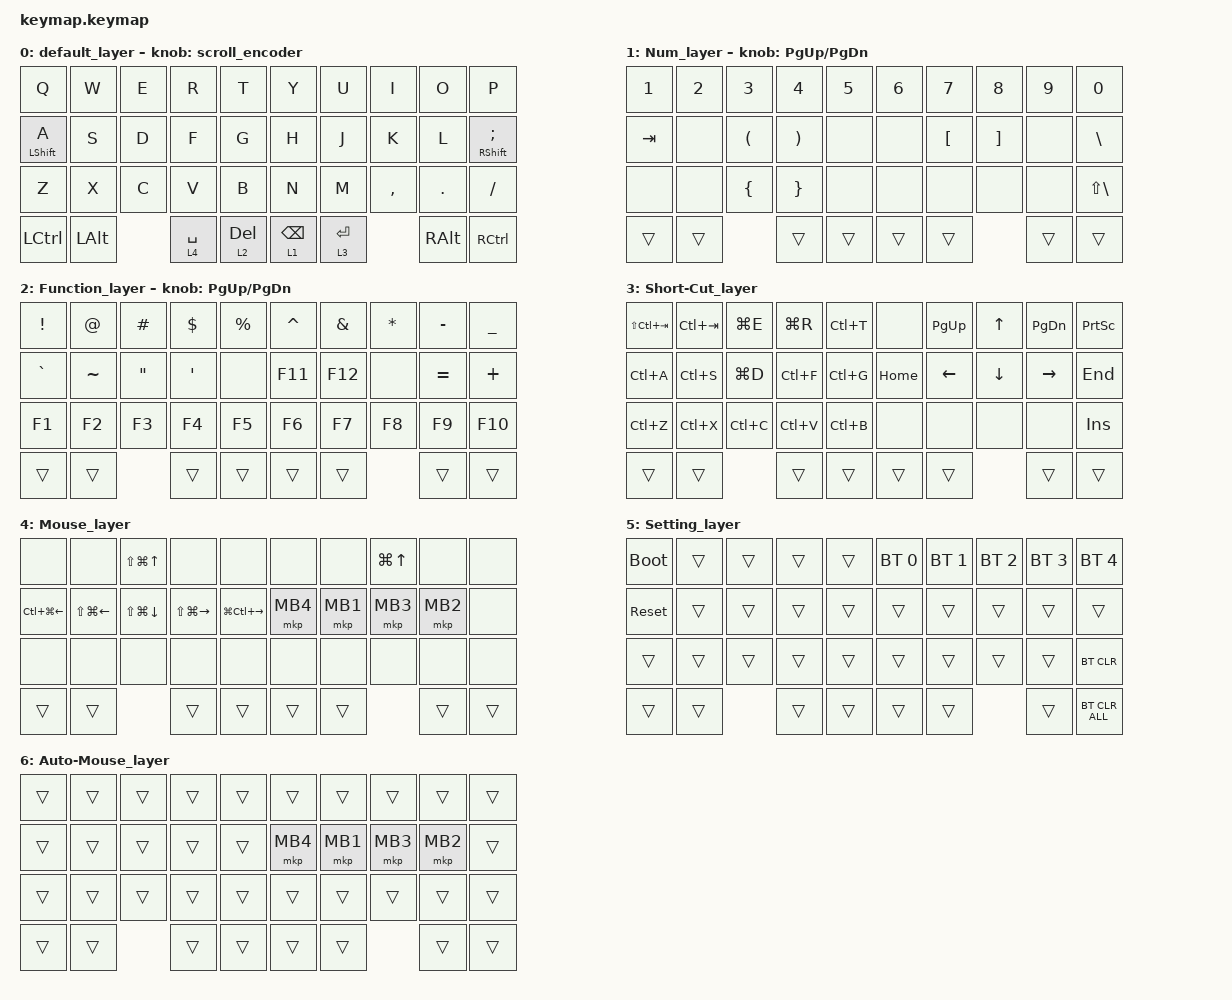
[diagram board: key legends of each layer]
/*
 * tecla-cero keymap
 *
 * 38-key split keyboard (left 19 + right 19)
 * 3 layers + rotary encoder
 *
 * ZMK Studio enabled for live editing
 */

#define ZMK_POINTING_DEFAULT_SCRL_VAL 200

#include <behaviors.dtsi>
#include <dt-bindings/zmk/bt.h>
#include <dt-bindings/zmk/keys.h>
#include <dt-bindings/zmk/pointing.h>

/ {
    behaviors {
        scroll_encoder: scroll_encoder {
            compatible = "zmk,behavior-sensor-rotate";
            #sensor-binding-cells = <0>;
            bindings = <&msc SCRL_DOWN>, <&msc SCRL_UP>;

            tap-ms = <60>;
        };
    };

    combos {
        compatible = "zmk,combos";

        Esc {
            bindings = <&kp ESCAPE>;
            key-positions = <0 1>;
        };

        Win {
            bindings = <&kp LEFT_GUI>;
            key-positions = <1 2>;
        };

        Tab {
            bindings = <&kp TAB>;
            key-positions = <11 12>;
        };

        Setting {
            bindings = <&mo 0>;
            key-positions = <33 34>;
        };
    };

    keymap {
        compatible = "zmk,keymap";

        /*
         * Layer 0: Default (QWERTY)
         *
         * ┌───┬───┬───┬───┬───┐   ┌───┬───┬───┬───┬───┐
         * │ Q │ W │ E │ R │ T │   │ Y │ U │ I │ O │ P │
         * ├───┼───┼───┼───┼───┤   ├───┼───┼───┼───┼───┤
         * │ A │ S │ D │ F │ G │   │ H │ J │ K │ L │ ; │
         * ├───┼───┼───┼───┼───┤   ├───┼───┼───┼───┼───┤
         * │ Z │ X │ C │ V │ B │   │ N │ M │ , │ . │BSP│
         * ├───┼───┼───┼───┼───┤   ├───┼───┼───┼───┼───┤
         * │CTL│SFT│   │LWR│SPC│   │ENT│RSE│   │ALT│CTL│
         * └───┴───┴───┴───┴───┘   └───┴───┴───┴───┴───┘
         */

        default_layer {
            bindings = <
&kp Q             &kp W         &kp E  &kp R        &kp T         &kp Y            &kp U        &kp I      &kp O     &kp P
&mt LEFT_SHIFT A  &kp S         &kp D  &kp F        &kp G         &kp H            &kp J        &kp K      &kp L     &mt RIGHT_SHIFT SEMICOLON
&kp Z             &kp X         &kp C  &kp V        &kp B         &kp N            &kp M        &kp COMMA  &kp DOT   &kp SLASH
&kp LCTRL         &kp LEFT_ALT         &lt 4 SPACE  &lt 2 DELETE  &lt 1 BACKSPACE  &lt 3 ENTER             &kp RALT  &kp RCTRL
            >;

            sensor-bindings = <&scroll_encoder>;
        };

        /*
         * Layer 1: Lower (Numbers / Navigation)
         *
         * ┌───┬───┬───┬───┬───┐   ┌───┬───┬───┬───┬───┐
         * │ 1 │ 2 │ 3 │ 4 │ 5 │   │ 6 │ 7 │ 8 │ 9 │ 0 │
         * ├───┼───┼───┼───┼───┤   ├───┼───┼───┼───┼───┤
         * │TAB│   │   │ESC│   │   │ ← │ ↓ │ ↑ │ → │BSP│
         * ├───┼───┼───┼───┼───┤   ├───┼───┼───┼───┼───┤
         * │SFT│   │   │   │   │   │HOM│PGD│PGU│END│DEL│
         * ├───┼───┼───┼───┼───┤   ├───┼───┼───┼───┼───┤
         * │   │   │   │▓▓▓│   │   │   │   │   │   │   │
         * └───┴───┴───┴───┴───┘   └───┴───┴───┴───┴───┘
         */

        Num_layer {
            bindings = <
&kp N1   &kp N2  &kp N3                &kp N4                 &kp N5  &kp N6  &kp N7            &kp N8             &kp N9  &kp N0
&kp TAB  &none   &kp LEFT_PARENTHESIS  &kp RIGHT_PARENTHESIS  &none   &none   &kp LEFT_BRACKET  &kp RIGHT_BRACKET  &none   &kp BACKSLASH
&none    &none   &kp LEFT_BRACE        &kp RIGHT_BRACE        &none   &none   &none             &none              &none   &kp LS(BACKSLASH)
&trans   &trans                        &trans                 &trans  &trans  &trans                               &trans  &trans
            >;

            sensor-bindings = <&inc_dec_kp PG_UP PG_DN>;
        };

        /*
         * Layer 2: Raise (Symbols / Function / Bluetooth)
         *
         * ┌───┬───┬───┬───┬───┐   ┌───┬───┬───┬───┬───┐
         * │ ! │ @ │ # │ $ │ % │   │ ^ │ & │ * │ ( │ ) │
         * ├───┼───┼───┼───┼───┤   ├───┼───┼───┼───┼───┤
         * │F1 │F2 │F3 │F4 │F5 │   │ - │ = │ [ │ ] │ \ │
         * ├───┼───┼───┼───┼───┤   ├───┼───┼───┼───┼───┤
         * │F6 │F7 │F8 │F9 │F10│   │ _ │ + │ { │ } │ | │
         * ├───┼───┼───┼───┼───┤   ├───┼───┼───┼───┼───┤
         * │BT1│BT2│   │BT3│   │   │   │▓▓▓│   │F11│F12│
         * └───┴───┴───┴───┴───┘   └───┴───┴───┴───┴───┘
         */

        Function_layer {
            bindings = <
&kp EXCL   &kp AT     &kp HASH           &kp DLLR          &kp PRCNT  &kp CARET  &kp AMPS  &kp ASTRK  &kp MINUS  &kp UNDER
&kp GRAVE  &kp TILDE  &kp DOUBLE_QUOTES  &kp SINGLE_QUOTE  &none      &kp F11    &kp F12   &none      &kp EQUAL  &kp PLUS
&kp F1     &kp F2     &kp F3             &kp F4            &kp F5     &kp F6     &kp F7    &kp F8     &kp F9     &kp F10
&trans     &trans                        &trans            &trans     &trans     &trans               &trans     &trans
            >;

            sensor-bindings = <&inc_dec_kp PG_UP PG_DN>;
        };

        Short-Cut_layer {
            bindings = <
&kp LS(LC(TAB))  &kp LC(TAB)  &kp LG(E)  &kp LG(R)  &kp LC(T)  &none     &kp PAGE_UP     &kp UP_ARROW    &kp PAGE_DOWN    &kp PRINTSCREEN
&kp LC(A)        &kp LC(S)    &kp LG(D)  &kp LC(F)  &kp LC(G)  &kp HOME  &kp LEFT_ARROW  &kp DOWN_ARROW  &kp RIGHT_ARROW  &kp END
&kp LC(Z)        &kp LC(X)    &kp LC(C)  &kp LC(V)  &kp LC(B)  &none     &none           &none           &none            &kp INSERT
&trans           &trans                  &trans     &trans     &trans    &trans                          &trans           &trans
            >;
        };

        Mouse_layer {
            bindings = <
&none                   &none                   &kp LS(LG(UP_ARROW))    &none              &none                    &none     &none     &kp LG(UP_ARROW)  &none     &none
&kp LC(LG(LEFT_ARROW))  &kp LS(LG(LEFT_ARROW))  &kp LS(LG(DOWN_ARROW))  &kp LS(LG(RIGHT))  &kp LG(LC(RIGHT_ARROW))  &mkp MB4  &mkp MB1  &mkp MB3          &mkp MB2  &none
&none                   &none                   &none                   &none              &none                    &none     &none     &none             &none     &none
&trans                  &trans                                          &trans             &trans                   &trans    &trans                      &trans    &trans
            >;
        };

        Setting_layer {
            bindings = <
&bootloader  &trans  &trans  &trans  &trans  &bt BT_SEL 0  &bt BT_SEL 1  &bt BT_SEL 2  &bt BT_SEL 3  &bt BT_SEL 4
&sys_reset   &trans  &trans  &trans  &trans  &trans        &trans        &trans        &trans        &trans
&trans       &trans  &trans  &trans  &trans  &trans        &trans        &trans        &trans        &bt BT_CLR
&trans       &trans          &trans  &trans  &trans        &trans                      &trans        &bt BT_CLR_ALL
            >;
        };

        Auto-Mouse_layer {
            bindings = <
&trans  &trans  &trans  &trans  &trans  &trans    &trans    &trans    &trans    &trans
&trans  &trans  &trans  &trans  &trans  &mkp MB4  &mkp MB1  &mkp MB3  &mkp MB2  &trans
&trans  &trans  &trans  &trans  &trans  &trans    &trans    &trans    &trans    &trans
&trans  &trans          &trans  &trans  &trans    &trans              &trans    &trans
            >;
        };
    };
};
